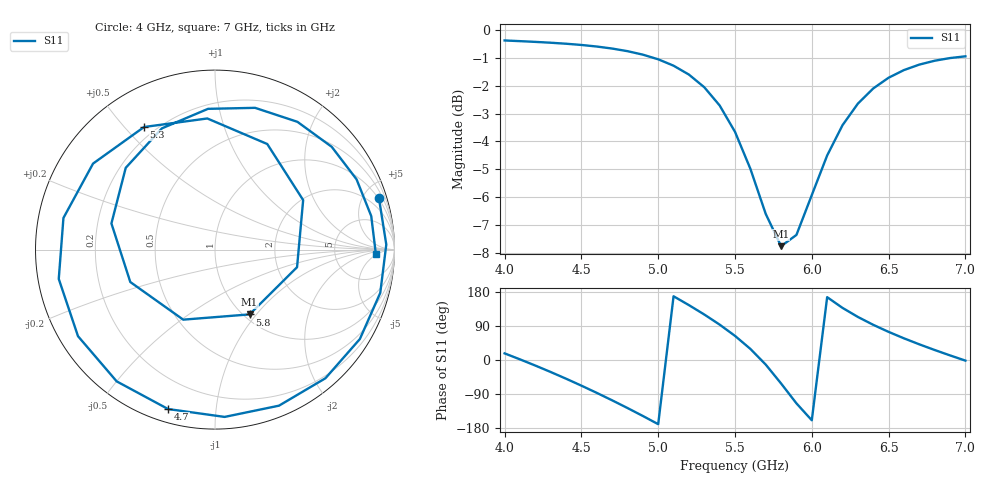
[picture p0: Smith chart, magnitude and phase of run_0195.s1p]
! Touchstone file exported from HFSS 2024.2.0
!  File:  C:/Users/wsak9/Desktop/Sim Fast/Widenad Patch/WP_AI_V1_sweep.aedt
!  Generated:  11:05:14 PM Oct 13, 2026
!  Design:  A1_model
!  Project:  WP_AI_V1_sweep
!  Setup:  Setup1
!  Solution:  Sweep
! Variables:
!  Air_gap = 3.37mm
!  Curve_Amp1 = 0.99
!  Curve_len1 = 1
!  Curve_pos = 10.43mm
!  Extra = 0.6mm
!  H_sub = 0.79mm
!  L_Patch = 16.86mm
!  L_Patch1 = 10.21mm
!  Sx = 3.64mm
!  Sy = 4.85mm
!  WS = 1.09mm
!  W_Patch = 16.26mm
!  W_Patch1 = 9.61mm
!Data is not renormalized
# GHz S MA
! Terminal data exported
! Port[1] = 1
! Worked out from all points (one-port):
!   31 points, 4 GHz to 7 GHz, reference per port
!   lowest |S11| = -7.8 dB at 5.8 GHz (marker M1), VSWR 2.38
!   |S11| at or under -10 dB: nowhere
!   S11 on the Smith chart (normalised r, x): 4 GHz: 0.92, +6.37; 4.7 GHz: 0.06, -0.75; 5.3 GHz: 0.16, +0.57; 5.8 GHz: 1.06, -0.92; 7 GHz: 17, -4
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4  0.9575 17.5
4.2  0.9518 -14.7
4.3  0.9485 -31.7
4.4  0.9446 -49.4
4.5  0.9398 -67.7
4.6  0.9337 -86.7
4.7  0.926 -106.4
4.8  0.916 -126.7
4.9  0.9029 -147.7
5  0.8857 -169.4
5.1  0.8626 168.2
5.2  0.8315 144.8
5.3  0.7891 120.1
5.4  0.7319 93.4
5.5  0.6563 63.7
5.6  0.5634 29.3
5.7  0.4676 -12.1
5.8  0.4091 -61.9
5.9  0.4286 -114.4
6  0.5053 -159.1
6.1  0.5952 165.8
6.2  0.6746 137.5
6.3  0.7374 113.6
6.4  0.7852 92.8
6.5  0.8208 74.2
6.7  0.8665 41.3
6.8  0.8805 26.4
7  0.8967 -1.6
